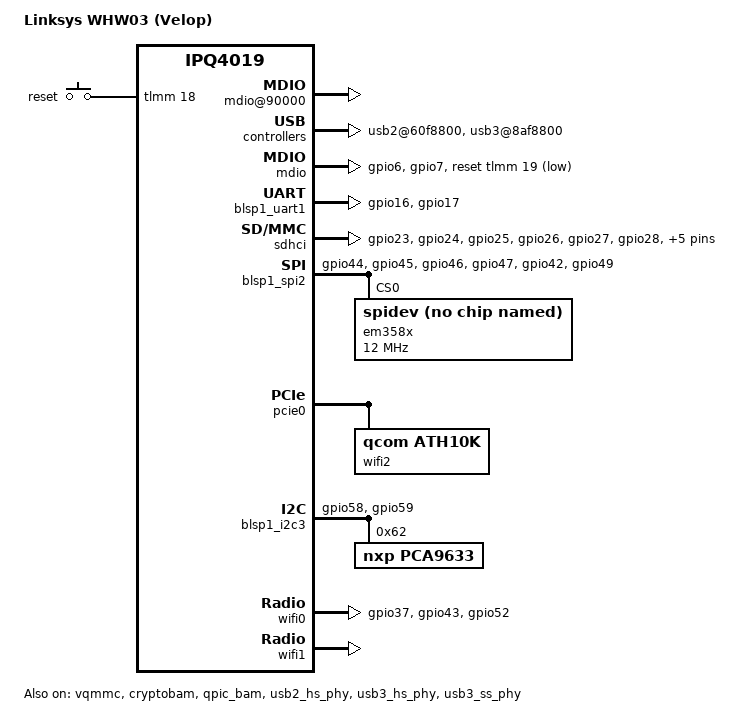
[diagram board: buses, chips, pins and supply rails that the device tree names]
// SPDX-License-Identifier: GPL-2.0-or-later OR MIT

/*
 * Device Tree Source for Linksys WHW03 V2 (Velop)
 *
 * Copyright (C) 2021 Andreas Calvo <flipy.bcn@gmail.com>
 *
 */

/dts-v1/;

#include "qcom-ipq4019.dtsi"
#include <dt-bindings/gpio/gpio.h>
#include <dt-bindings/input/input.h>
#include <dt-bindings/soc/qcom,tcsr.h>

/ {
	model = "Linksys WHW03 (Velop)";
	compatible = "linksys,whw03", "qcom,ipq4019";

	aliases {
		led-boot = &led_blue;
		led-failsafe = &led_red;
		led-running = &led_green;
		led-upgrade = &led_red;
        serial0 = &blsp1_uart1;
	};


	keys {
		compatible = "gpio-keys";

		button@1 {
			label = "reset";
			linux,code = <KEY_RESTART>;
			gpios = <&tlmm 18 GPIO_ACTIVE_HIGH>;
		};
	};
	
	// U-boot init=/sbin/init rootfstype=ext4 root=/dev/mmcblk0p15  rootwait console=ttyMSM0,115200n8

	chosen {
		//bootargs = " rootfstype=ext4 root=/dev/mmcblk0p15  rootwait console=ttyMSM0,115200n8";
		bootargs-append = " rootfstype=squashfs clk_ignore_unused";
	};


	soc {
		rng@22000 {
			status = "okay";
		};

		mdio@90000 {
			status = "okay";
		};

		ess-psgmii@98000 {
			status = "okay";
			resets = <&gcc ESS_PSGMII_ARES>;
        	reset-names = "psgmii_rst";
		};

		/*counter@4a1000 {
			compatible = "qcom,qca-gcnt";
			reg = <0x4a1000 0x4>;
		};*/


		tcsr@1949000 {
			compatible = "qcom,tcsr";
			reg = <0x1949000 0x100>;
			qcom,wifi_glb_cfg = <TCSR_WIFI_GLB_CFG>;
		};

		tcsr@194b000 {
			compatible = "qcom,tcsr";
			reg = <0x194b000 0x100>;
			qcom,usb-hsphy-mode-select = <TCSR_USB_HSPHY_HOST_MODE>;
		};

		ess_tcsr@1953000 {
			compatible = "qcom,tcsr";
			reg = <0x1953000 0x1000>;
			qcom,ess-interface-select = <TCSR_ESS_PSGMII>;
		};

		tcsr@1957000 {
			compatible = "qcom,tcsr";
			reg = <0x1957000 0x100>;
			qcom,wifi_noc_memtype_m0_m2 = <TCSR_WIFI_NOC_MEMTYPE_M0_M2>;
		};

		usb2@60f8800 {
			status = "okay";
		};

		usb3@8af8800 {
			status = "okay";
		};

		crypto@8e3a000 {
			status = "okay";
		};

		watchdog@b017000 {
			status = "okay";
		};

		ess-switch@c000000 {
			status = "okay";
		};

		edma@c080000 {
			status = "okay";
		};
	};
};

&tlmm {
	mdio_pins: mdio_pinmux {
		mux_1 {
			pins = "gpio6";
			function = "mdio";
			bias-pull-up;
		};
		mux_2 {
			pins = "gpio7";
			function = "mdc";
			bias-pull-up;
		};
	};

	i2c_0_pins: i2c_0_pinmux {
		pinmux {
			function = "blsp_i2c0";
			pins = "gpio58", "gpio59";
			bias-disable;
		};
	};

	serial_0_pins: serial0_pinmux {
		pins = "gpio16", "gpio17";
		function = "blsp_uart0";
		bias-disable;
	};

	serial_1_pins: serial1_pinmux {
		pins = "gpio8", "gpio9";
		function = "blsp_uart1";
		bias-disable;
	};

	uart_1_pins: uart1_pinmux {
		mux {
			pins = "gpio8", "gpio9", "gpio10", "gpio11";
			function = "blsp_uart1";
			bias-disable;
		};
	};
	
	spi_1_pins: spi_1_pinmux {
		mux {
			pins = "gpio44", "gpio45", "gpio46", "gpio47";
			function = "blsp_spi1";
			bias-disable;
		};
		host_int {
			pins = "gpio42";
			function = "gpio";
			input;
		};
		cs {
			pins = "gpio45";
			function = "gpio";
			bias-pull-up;
		};
		reset {
            pins = "gpio49";
            function = "gpio";
            output-high;
        };
	};
	
	wifi1_pins: wifi1_pinmux {
        mux_1 {
            pins = "gpio37";
            output-high;
            function = "wcss0_dbg16";
            bias-pull-up;
        };

        mux_2 {
            pins = "gpio43";
            function = "wifi_wci1";
            bias-pull-up;
        };

        mux_3 {
            pins = "gpio52";
            output-high;
            function = "gpio";
            bias-pull-up;
        };
    };
    
    sd_pins: sd_0_pinmux {
        mux {
                function = "sdio";
                pins = "gpio23", "gpio24", "gpio25", "gpio26",
                        "gpio27", "gpio28", "gpio29", "gpio30", 
                        "gpio31";
        };

        sd7 {
                function = "sdio";
                pins = "gpio32";
                bias-disable;
        };
    };
};

&mdio {
	status = "ok";
	pinctrl-0 = <&mdio_pins>;
	pinctrl-names = "default";
	//qcom,mdio_offset = <0x18>;
	//qcom,mdio_offset_limit = <0x5>;
	reset-gpios = <&tlmm 19 GPIO_ACTIVE_LOW>;
	//phy-reset-gpio = <&tlmm 19 GPIO_ACTIVE_LOW>;
};

&blsp_dma {
	status = "okay";
};

&blsp1_uart1 {
	status = "okay";
	pinctrl-0 = <&serial_0_pins>;
	pinctrl-names = "default";
};

/*&blsp1_uart2 {
	status = "okay";
	pinctrl-0 = <&serial_1_pins>;
	pinctrl-names = "default";
};*/

&vqmmc {
	status = "okay";
};

&sdhci {
	vqmmc-supply = <&vqmmc>;
	pinctrl-0 = <&sd_pins>;
	pinctrl-names = "default";
	cd-gpios = <&tlmm 22 GPIO_ACTIVE_LOW>;
	sd-ldo-gpios = <&tlmm 33 GPIO_ACTIVE_LOW>;
	status = "okay";
};



&cryptobam {
	status = "okay";
};

&blsp1_spi2 {
    pinctrl-0 = <&spi_1_pins>;
    pinctrl-names = "default";
    status = "okay";
    em358x@0 {
        compatible = "spidev";
        reg = <0x00>;
        spi-max-frequency = <0xb71b00>;
    };
};

&pcie0 {
	status = "okay";

	perst-gpio = <&tlmm 38 GPIO_ACTIVE_LOW>;
	wake-gpio = <&tlmm 40 GPIO_ACTIVE_LOW>;
	clkreq-gpio = <&tlmm 39 GPIO_ACTIVE_LOW>;

	bridge@0,0 {
		reg = <0x00000000 0 0 0 0>;
		#address-cells = <3>;
		#size-cells = <2>;
		ranges;

		wifi2: wifi@1,0 {
			compatible = "qcom,ath10k";
			reg = <0x00010000 0 0 0 0>;
		};
	};
};

&qpic_bam {
	status = "okay";
};


&blsp1_i2c3 {
	pinctrl-0 = <&i2c_0_pins>;
	pinctrl-1 = <&i2c_0_pins>;
	pinctrl-names = "i2c_active", "i2c_sleep";

	status = "okay";

	pca9633@62 {
		compatible = "nxp,pca9633";
		#address-cells = <1>;
		#size-cells = <0>;
		reg = <98>;
		nxp,hw-blink;
		led_red: red@0 {
			label = "whw03:red:power";
			reg = <0>;
		};
		led_green: green@1 {
			label = "whw03:green:power";
			reg = <1>;
		};
		led_blue: blue@2 {
			label = "whw03:blue:power";
			reg = <2>;
		};
		led_unusued: unused@3 {
			label = "whw03:unused:power";
			reg = <3>;
		};
	};
};

&usb2_hs_phy {
	status = "okay";
};

&usb3_hs_phy {
	status = "okay";
};

&usb3_ss_phy {
	status = "okay";
};

&wifi0 {
	status = "okay";
	pinctrl-0 = <&wifi1_pins>;
	pinctrl-names = "default";
	qcom,ath10k-calibration-variant = "linksys-whw03-fcc";
};

&wifi1 {
	status = "okay";
	ieee80211-freq-limit = <5170000 5330000>;
	qcom,ath10k-calibration-variant = "linksys-whw03-fcc";
};

&wifi2 {
	status = "okay";
	ieee80211-freq-limit = <5490000 5835000>;
	qcom,ath10k-calibration-variant = "linksys-whw03-fcc";
};
